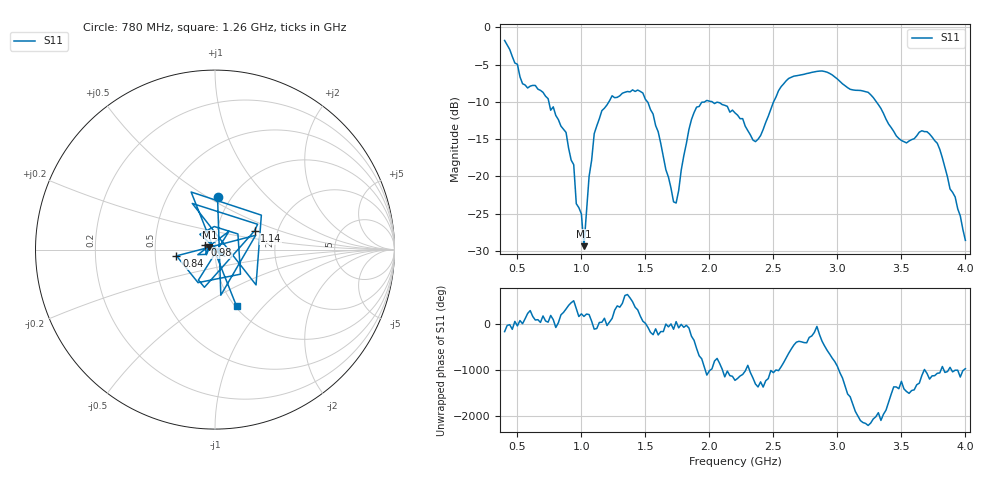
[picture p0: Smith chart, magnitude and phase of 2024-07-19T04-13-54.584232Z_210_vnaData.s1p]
!Created with skrf (http://scikit-rf.org).
# Hz S RI R 50.0
!freq ReS11 ImS11
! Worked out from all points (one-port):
!   181 points, 400 MHz to 4 GHz, reference 50 ohm
!   lowest |S11| = -29.4 dB at 1.02 GHz (marker M1), VSWR 1.07, Z = 47 + j1.31 ohm
!   |S11| at or under -10 dB: 745.5 MHz to 1.215 GHz (469.2 MHz wide, 47.9 % of centre); 2.022 GHz to 2.501 GHz (478.9 MHz wide, 21.2 % of centre); 3.305 GHz to end of sweep (the widest 3 of 4)
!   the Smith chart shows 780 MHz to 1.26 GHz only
!   S11 on the Smith chart (normalised r, x): 780 MHz: 0.86, +0.55; 840 MHz: 0.65, -0.05; 980 MHz: 0.89, +0.05; 1.14 GHz: 1.52, +0.34; 1.26 GHz: 1.01, -0.72
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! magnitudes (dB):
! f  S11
! 400 MHz  -1.8
! 540 MHz  -7.6
! 780 MHz  -10.7
! 840 MHz  -13.3
! 860 MHz  -13.7
! 940 MHz  -18.4
! 960 MHz  -23.7
! 980 MHz  -24.2
! 1 GHz  -25.0
! 1.02 GHz  -29.4
! 1.06 GHz  -20.0
! 1.1 GHz  -14.3
! 1.14 GHz  -12.3
! 1.26 GHz  -9.4
! 1.3 GHz  -9.2
! 1.48 GHz  -8.8
! 1.6 GHz  -14.0
! 1.72 GHz  -23.4
! 1.76 GHz  -21.9
! 1.84 GHz  -13.7
! 1.9 GHz  -10.7
! 2.2 GHz  -11.5
! 2.36 GHz  -15.3
! 2.66 GHz  -6.6
! 3.1 GHz  -8.3
! 3.56 GHz  -15.3
! 3.78 GHz  -15.5
! 4 GHz  -28.6
